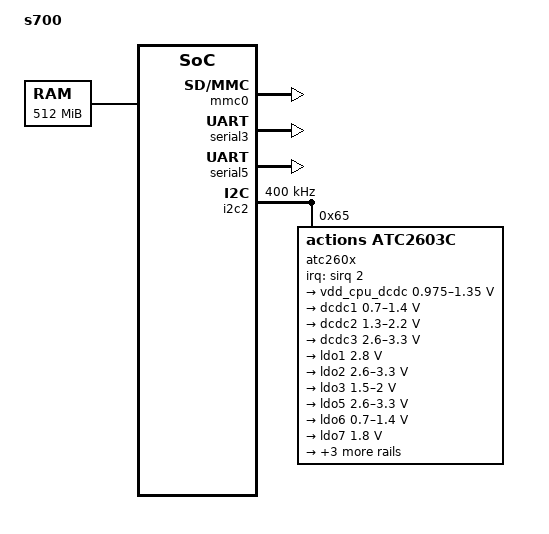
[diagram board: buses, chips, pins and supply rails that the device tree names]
/*
 * Copyright (C) 2014 Actions Semi. Inc
 *
 * This program is free software; you can redistribute it and/or
 * modify it under the terms of the GNU General Public License as
 * published by the Free Software Foundation version 2.
 *
 * This program is distributed "as is" WITHOUT ANY WARRANTY of any
 * kind, whether express or implied; without even the implied warranty
 * of MERCHANTABILITY or FITNESS FOR A PARTICULAR PURPOSE.  See the
 * GNU General Public License for more details.
 */

/dts-v1/;

/* reserve 48MB for logo(fb) */
///memreserve/ 0x19000000 0x03000000;

/* reserve 48MB for ion0(fb) */
/memreserve/ 0x1C000000 0x01000000;

/* reserve 32MB for ion1(pmem) */
/memreserve/ 0x20000000 0x01000000;

/* reserve 4k for afinfo */
/memreserve/ 0x18FFF000 0x1000;

#include "s700.dtsi"

/ {
	model = "s700";
	compatible = "actions,s700";

	chosen {
		bootargs="console=ttyS5,115200 earlyprintk=serial-owl,0xe012a000 no_console_suspend";
	};
	cpus {
		CPU0: cpu@0 {
			cpuvdd-supply = <&vdd_cpu_dcdc>;
		};
	};

	memory@00000000 {
		device_type = "memory";
		reg = <0 0x00000000 0 0x20000000>;
	};

	ion_config {
		compatible = "actions,s900-ion";
		actions,ion_heap_fb_base = <0x1c000000>;
		actions,ion_heap_fb_size = <0x01000000>;
		actions,ion_heap_pmem_base = <0x20000000>;
		actions,ion_heap_pmem_size = <0x01000000>;
	};

	mmc0: mmc@e0218000 {
		card-type = "emmc";
		status = "okay";
	};

	serial3: uart@e0126000 {
		status = "okay";
	};
	serial5: uart@e012a000 {
		status = "okay";
		pinctrl-names = "default";
		pinctrl-0 = <&serial5_state_default>;
	};
	pwm: pwm@e01b0000 {
		pwm1 {
			id = <1>;
			pinctrl-names = "default";
			pinctrl-0 = <&pwm1_state_default>;
		};
		pwm2 {
			id = <2>;
			pinctrl-names = "default";
			pinctrl-0 = <&pwm2_state_default>;
		};
	};

	owl_aotg_config {
                compatible = "actions,owl-aotg-config";
                usb_cam_shield1 = "e01d0000";
                usb_cam_shield2 = "e01d8000";
        };

		i2c2: i2c@e0178000 {
		i2c_num = <0>;
		clock-frequency = <400000>;
		status = "okay";
		/* atc2603c (5307) */
		atc260x: atc2603c@65 {
			compatible = "actions,atc2603c";
			reg = <0x65>;
			interrupt-parent = <&sirq>;
			interrupts =< 2 0x4 >;
			interrupt-controller;
			#interrupt-cells = <1>;

			losc_32k_output_enable = <1>;    /* enable/disable output 32.768K clock via I2S_MCLK1 pin */
			losc_32k_output_voltage = <18>;  /* select voltage scale of the 32.768K clock output, 18:1.8v, 31:3.1v */
			board_flag = <1>;
			pm {
				compatible = "actions,atc2603c-pm";
			};

			onoff {
				compatible = "actions,atc2603c-onoff";
			};

			rtc{
				compatible = "actions,atc2603c-rtc";
			};

			atc260x_gpio: atc260x_gpio {
				compatible = "actions,atc2603c-gpio";
				gpio-controller;
				#gpio-cells = <2>;
			};

			atc260x_sgpio: atc260x_sgpio {
				compatible = "actions,atc2603c-sgpio";
				gpio-controller;
				#gpio-cells = <2>;
				interrupt-controller;
				#interrupt-cells = <2>;
			};


			atc260x-irkeypad{
				size = <28>;
				user_code = <16448>;
				protocol = <1>;
				wk_code= <77>;
				period = <140>;
				ir_code = <77 67 21 28 11 14 16 17 13 26 69 66 12 1 2 3 4 5 6 7 8 9 0 68 83 18 30 31>;
				key_code = <116 113 115 114 103 108 105 106 353 172 139 158 14 2 3 4 5 6 7 8 9 10 11 175 139 52 165 163>;
				compatible = "actions,atc2603c-irkeypad";
			};

			/*the cfg params must be read	in the first installed ko,
			 now snd-soc-atv5302.ko is first installed.
			 1, earphone_detect_level use the third value of earphone_gpios
			 2, commonly, we shouldn't change the value of speaker_gain and earphone_gain*/
			atc260x-hwmon{
				compatible = "actions,atc2603c-hwmon";
			};


			vdd_cpu_dcdc: vdd-cpu-dcdc {
				compatible = "actions,atc2603c-ext-pwm-dcdc1","actions,atc2603c-ext-pwm-dcdc";
				regulator-name = "vdd-cpu-dcdc";
				regulator-min-microvolt  = <975000>;
				regulator-max-microvolt = <1350000>;
				regulator-always-on;
				pwms = <&pwm 1 2666 0>;	// 1-pwm1   2666-1/(24M/64)*1000000-1   0 -active high
				table_len = < 14 >;			//length of vdd_cpu_table & pwm_config_table
				vdd_cpu_table = <975000 1000000 1025000 1050000 1075000 1100000 1125000 1150000 1175000 1200000 1225000 1250000 1300000 1350000>;	//uV
				pwm_config_table = <16 15 14 13 12 11 10 9 8 7 6 5 4 3>;	//the pwm period of 1.1v 1.2v 1.3v
				aux=<2>;
				/*pwm_revise = <1>;*/
			};
/*
			vdd_core_dcdc: vdd-core-dcdc {
				compatible = "actions,atc2603c-ext-pwm-dcdc2","actions,atc2603c-ext-pwm-dcdc";
				regulator-name = "vdd-core-dcdc";
				regulator-min-microvolt  = <900000>;
				regulator-max-microvolt = <1250000>;
				regulator-always-on;
				pwms = <&pwm 2 2666 0>;	// 1-pwm1   2666-1/(24M/64)*1000000-1   0 -active high
				table_len = < 15 >;			//length of vdd_cpu_table & pwm_config_table
				vdd_cpu_table = <900000 925000 950000 975000 1000000 1025000 1050000 1075000 1100000 1125000 1150000 1175000 1200000 1225000 1250001>;	//uV
				pwm_config_table = <19 18 17 16 15 14 13 12 11 10 9 8 7 6 5>;	//the pwm period of 1.1v 1.2v 1.3v
			};
*/
			dcdc1: dcdc1 {
				compatible = "actions,atc2603c-dcdc1","actions,atc2603c-dcdc";
				regulator-name = "dcdc1";
				regulator-min-microvolt = <700000>;
				regulator-max-microvolt = <1400000>;
				regulator-always-on;
			};

			dcdc2: dcdc2 {
				compatible = "actions,atc2603c-dcdc2","actions,atc2603c-dcdc";
				regulator-name = "dcdc2";
				regulator-min-microvolt = <1300000>;
				regulator-max-microvolt = <2200000>;
				regulator-always-on;
			};

			dcdc3: dcdc3 {
				compatible = "actions,atc2603c-dcdc3","actions,atc2603c-dcdc";
				regulator-name = "dcdc3";
				regulator-min-microvolt = <2600000>;
				regulator-max-microvolt = <3300000>;
				regulator-always-on;
			};

			dcdc4: dcdc4 {
				status = "disabled";
			};

			dcdc5: dcdc5 {
				status = "disabled";
			};

			ldo1: ldo1{
				compatible = "actions,atc2603c-ldo1","actions,atc2603c-ldo";
				regulator-name = "ldo1";
				regulator-min-microvolt  = <2800000>;
				regulator-max-microvolt = <2800000>;
				regulator-always-on;
			};

			ldo2: ldo2{
				compatible = "actions,atc2603c-ldo2","actions,atc2603c-ldo";
				regulator-name = "ldo2";
				regulator-min-microvolt  = <2600000>;
				regulator-max-microvolt = <3300000>;
				regulator-always-on;
			};

			ldo3: ldo3{
				compatible = "actions,atc2603c-ldo3","actions,atc2603c-ldo";
				regulator-name = "ldo3";
				regulator-min-microvolt  = <1500000>;
				regulator-max-microvolt = <2000000>;
				regulator-always-on;
			};

			ldo4: ldo4{
				status = "disabled";
			};

			ldo5: ldo5{
				compatible = "actions,atc2603c-ldo5","actions,atc2603c-ldo";
				regulator-name = "ldo5";
				regulator-min-microvolt  = <2600000>;
				regulator-max-microvolt = <3300000>;
			};

			ldo6: ldo6{
				compatible = "actions,atc2603c-ldo6","actions,atc2603c-ldo";
				regulator-name = "ldo6";
				regulator-min-microvolt  = <700000>;
				regulator-max-microvolt = <1400000>;
				regulator-always-on;
			};

			ldo7: ldo7{
				compatible = "actions,atc2603c-ldo7","actions,atc2603c-ldo";
				regulator-name = "ldo7";
				regulator-min-microvolt  = <1800000>;
				regulator-max-microvolt = <1800000>;
				regulator-always-on;
				regulator-suspend-off;
			};

			ldo8: ldo8{
				compatible = "actions,atc2603c-ldo8","actions,atc2603c-ldo";
				regulator-name = "ldo8";
				regulator-min-microvolt  = <2300000>;
				regulator-max-microvolt = <3300000>;
			};

			ldo9: ldo9{
				status = "disabled";
			};

			ldo10: ldo10{
				status = "disabled";
			};

			ldo11: ldo11{
				compatible = "actions,atc2603c-ldo11","actions,atc2603c-ldo";
				regulator-name = "ldo11";
				regulator-min-microvolt  = <2600000>;
				regulator-max-microvolt = <3300000>;
				regulator-always-on;
			};

			switch1:switch1{
				compatible = "actions,atc2603c-switch1","actions,atc2603c-switch";
				regulator-name = "switch1";
				regulator-min-microvolt  = <3000000>;
				regulator-max-microvolt = <3300000>;
				regulator-always-on;
			};

			switch2:switch2{
				status = "disabled";
			};
		};
	};
};
